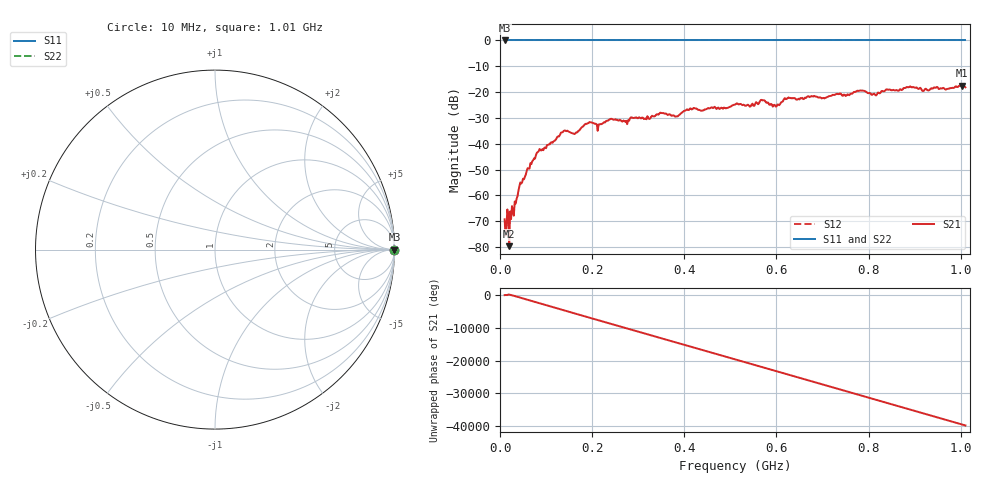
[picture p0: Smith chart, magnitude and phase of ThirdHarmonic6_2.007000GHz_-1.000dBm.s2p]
! 8/17/2025 12:06:32 AM
! C:\ANRITSUVNA\TEMP\TEMP.S2P
! CHANNEL.1
! TR.MEASUREMENT
! RAW.DATA
! RF.CORRECTION.OFF
! AVERAGING.OFF
! IF.BANDWIDTH: 5KHZ
! SWEEPTYPE:  FREQ.SWEEP(Linear)
! Reference Plane Port Info
! PORT:  PORT1  PORT2
! DISTANCE:  0  m  0  m
! TIME:  0  s  0  s
! PHASE.OFFSET:  0  deg.  0  deg.
! LOSS:  0  dB  0  dB
! REF.LOSS:  0  dB  0  dB
! REF.FREQ:  0  Hz  0  Hz
! Power Info
! POWER:  -20  dBm  -20  dBm
! EFF.POWER:  -20  dBm  -20  dBm
! SOURCE.ATTEN:  0  dB  0  dB
! TEST.ATTEN:  0  dB  0  dB
# GHZ S RI R 50.0
! FREQ.GHZ  S11RE  S11IM  S21RE  S21IM  S12RE  S12IM  S22RE  S22IM
!; PortSelection: Port_12
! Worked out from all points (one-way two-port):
!   501 points, 10 MHz to 1.01 GHz, reference 50 ohm
!   highest |S21| = -17.45 dB at 1.002 GHz (marker M1); lowest = -79.7 dB at 20 MHz (marker M2)
!   lowest |S11| = 0.0 dB at 10 MHz (marker M3)
!   |S11| at or under -10 dB: nowhere
!   |S22| runs from 0.0 to 0.0 dB; largest |S21 - S12| = 1.1
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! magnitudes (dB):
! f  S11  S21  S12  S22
! 10 MHz  0.0  -69.3  0.0  0.0
! 14 MHz  0.0  -71.6  0.0  0.0
! 16 MHz  0.0  -65.5  0.0  0.0
! 20 MHz  0.0  -79.7  0.0  0.0
! 24 MHz  0.0  -69.2  0.0  0.0
! 46 MHz  0.0  -55.4  0.0  0.0
! 82 MHz  0.0  -43.2  0.0  0.0
! 136 MHz  0.0  -35.5  0.0  0.0
! 162 MHz  0.0  -36.2  0.0  0.0
! 178 MHz  0.0  -33.5  0.0  0.0
! 344 MHz  0.0  -28.7  0.0  0.0
! 382 MHz  0.0  -29.5  0.0  0.0
! 416 MHz  0.0  -26.7  0.0  0.0
! 510 MHz  0.0  -24.9  0.0  0.0
! 570 MHz  0.0  -23.2  0.0  0.0
! 596 MHz  0.0  -24.9  0.0  0.0
! 622 MHz  0.0  -22.7  0.0  0.0
! 678 MHz  0.0  -21.7  0.0  0.0
! 814 MHz  0.0  -21.0  0.0  0.0
! 844 MHz  0.0  -19.1  0.0  0.0
! 1.002 GHz  0.0  -17.5  0.0  0.0
! 1.01 GHz  0.0  -18.1  0.0  0.0
